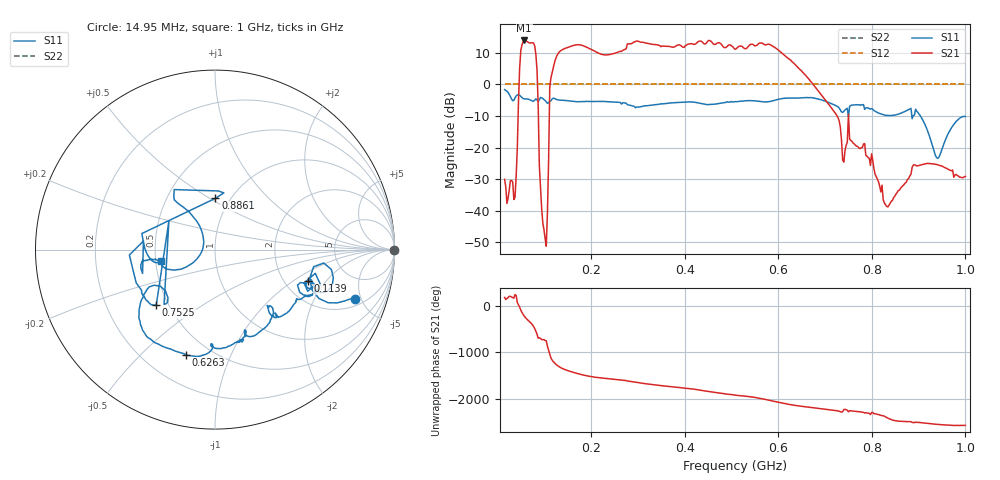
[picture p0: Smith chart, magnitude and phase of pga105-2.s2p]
! Anritsu VNA Master:  Model: MS2024B
! SN:  2417009
! /card0/usr/pga105-2.s2p
! Existing Calibration Information:
! TYPE:  Current Settings,  Active Cal Settings
! TIME:  09/14/2026 03:15:05 AM,  09/14/2026 03:12:11 AM
! INTERNAL TEMP:  44.3 C,  42.5 C
! # POINTS:  399,  399
! START FREQ:  14.950 MHz,  14.950 MHz
! STOP FREQ:  1.000 GHz,  1.000 GHz
! SOURCE POWER:  Default,  Default
! IFBW:  1 kHz,  1 kHz
! AVG FACTOR:  16 ,  16
! REF PLANE 1:  0 mm,  0 mm
! REF PLANE 2:  0 mm,  0 mm
! CAL TYPE:  1P2P S11,S21,  1P2P S11,S21
! CAL METHOD:  SOLT,  SOLT
! CAL LINE TYPE:  Coax,  Coax
! DUT PORT 1:  N-Conn(M),  N-Conn(M)
! DUT PORT 2:  N-Conn(M),  N-Conn(M)
! CAL STATUS:  OK: Accuracy High,  --
# GHZ S DB R 50.0
! FREQ.GHZ  S11DB  S11A  S21DB  S21A  S12DB  S12A  S22DB  S22A
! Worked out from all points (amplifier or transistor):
!   399 points, 14.95 MHz to 1 GHz, reference 50 ohm
!   highest |S21| = 13.9 dB at 57.02 MHz (marker M1)
!   |S21| within 3 dB of that: 269.3 MHz to 599.8 MHz (330.5 MHz wide, 76.1 % of centre)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
!   unconditionally stable (mu >= 1): nowhere
!   at 178.3 MHz: K = 1.56, MSG = 6.2 dB, |S12| = 0.0 dB
!   at 507.5 MHz: K = 1.46, MSG = 5.5 dB, |S12| = 0.0 dB
!   at 1 GHz: K = 0.13, MSG = -14.6 dB, |S12| = 0.0 dB
!   S11 on the Smith chart (normalised r, x): 14.95 MHz: 2.59, -4.41; 114 MHz: 2.67, -1.34; 626.3 MHz: 0.37, -0.69; 752.5 MHz: 0.43, -0.33; 886.1 MHz: 0.85, +0.53; 1 GHz: 0.53, -0.08
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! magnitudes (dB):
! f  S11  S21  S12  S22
! 14.95 MHz  -1.7  -30.0  0.0  0.0
! 37.23 MHz  -4.3  -35.7  0.0  0.0
! 47.12 MHz  -3.5  5.2  0.0  0.0
! 57.02 MHz  -4.6  13.9  0.0  0.0
! 81.78 MHz  -4.6  9.5  0.0  0.0
! 89.2 MHz  -4.8  -25.8  0.0  0.0
! 104 MHz  -5.5  -51.2  0.0  0.0
! 111.5 MHz  -5.3  -0.9  0.0  0.0
! 114 MHz  -5.2  2.0  0.0  0.0
! 180.8 MHz  -5.5  12.3  0.0  0.0
! 344.1 MHz  -6.3  12.3  0.0  0.0
! 507.5 MHz  -5.5  11.1  0.0  0.0
! 626.3 MHz  -4.3  7.7  0.0  0.0
! 673.3 MHz  -4.3  0.2  0.0  0.0
! 727.8 MHz  -7.2  -10.5  0.0  0.0
! 740.1 MHz  -8.5  -24.6  0.0  0.0
! 750 MHz  -10.4  -9.4  0.0  0.0
! 752.5 MHz  -6.9  -17.4  0.0  0.0
! 836.6 MHz  -9.9  -38.2  0.0  0.0
! 886.1 MHz  -10.9  -26.3  0.0  0.0
! 940.6 MHz  -23.4  -25.5  0.0  0.0
! 1 GHz  -10.2  -29.1  0.0  0.0
